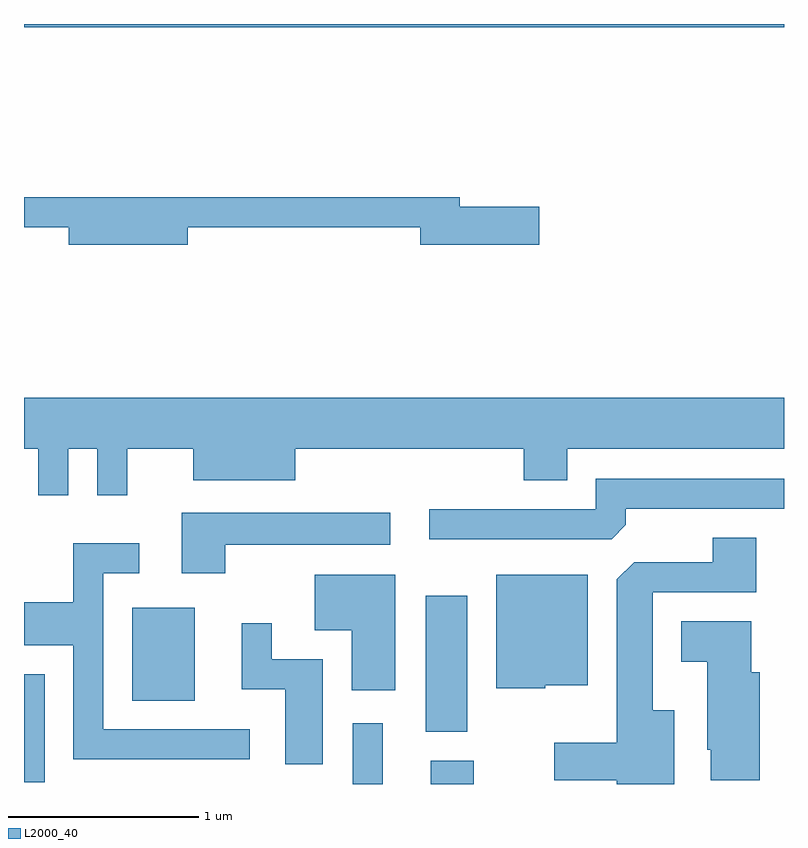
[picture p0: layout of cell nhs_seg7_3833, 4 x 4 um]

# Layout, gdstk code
import gdstk
lib = gdstk.Library(unit=1e-6, precision=1e-09)
def R(c, l, rs):  # rectangles x0, y0, x1, y1
    for r in rs: c.add(gdstk.rectangle(r[:2], r[2:], *l))
def P(c, l, *ps):  # polygons
    for p in ps: c.add(gdstk.Polygon(p, *l))
L2000_40 = (2000, 40)

nhs_seg7_3833 = lib.new_cell('nhs_seg7_3833')
R(nhs_seg7_3833, L2000_40, [(303.341,1790.252,303.499,1790.573), (303.751,1790.252,303.979,1790.374), (301.611,1790.261,301.719,1790.829), (303.726,1790.526,303.944,1791.244), (302.181,1790.691,302.509,1791.179), (301.611,1794.236,305.611,1794.252)])
P(nhs_seg7_3833, L2000_40, [(302.474,1793.181),(303.696,1793.181),(303.696,1793.091),(304.324,1793.091),(304.324,1793.289),(303.904,1793.289),(303.904,1793.339),(301.611,1793.339),(301.611,1793.181),(301.846,1793.181),(301.846,1793.091),(302.474,1793.091)],
  [(301.844,1792.016),(301.996,1792.016),(301.996,1791.773),(302.154,1791.773),(302.154,1792.016),(302.501,1792.016),(302.501,1791.851),(303.039,1791.851),(303.039,1792.016),(304.241,1792.016),(304.241,1791.851),(304.469,1791.851),(304.469,1792.016),(305.611,1792.016),(305.611,1792.284),(301.611,1792.284),(301.611,1792.016),(301.686,1792.016),(301.686,1791.773),(301.844,1791.773)],
  [(304.779,1791.617),(304.779,1791.701),(305.611,1791.701),(305.611,1791.859),(304.621,1791.859),(304.621,1791.699),(303.743,1791.699),(303.743,1791.541),(304.704,1791.541)],
  [(302.669,1791.511),(303.538,1791.511),(303.538,1791.679),(302.441,1791.679),(302.441,1791.361),(302.669,1791.361)],
  [(305.034,1790.639),(304.919,1790.639),(304.919,1791.261),(305.464,1791.261),(305.464,1791.549),(305.236,1791.549),(305.236,1791.419),(304.822,1791.419),(304.731,1791.329),(304.731,1790.469),(304.401,1790.469),(304.401,1790.271),(304.731,1790.271),(304.731,1790.252),(305.034,1790.252)],
  [(302.798,1790.539),(302.029,1790.539),(302.029,1791.361),(302.218,1791.361),(302.218,1791.519),(301.871,1791.519),(301.871,1791.209),(301.611,1791.209),(301.611,1790.981),(301.871,1790.981),(301.871,1790.381),(302.798,1790.381)],
  [(304.355,1790.771),(304.579,1790.771),(304.579,1791.354),(304.096,1791.354),(304.096,1790.756),(304.355,1790.756)],
  [(303.564,1791.354),(303.141,1791.354),(303.141,1791.061),(303.336,1791.061),(303.336,1790.746),(303.564,1790.746)],
  [(305.484,1790.839),(305.439,1790.839),(305.439,1791.109),(305.071,1791.109),(305.071,1790.896),(305.206,1790.896),(305.206,1790.431),(305.226,1790.431),(305.226,1790.271),(305.484,1790.271)],
  [(303.184,1790.909),(302.914,1790.909),(302.914,1791.098),(302.756,1791.098),(302.756,1790.751),(302.986,1790.751),(302.986,1790.356),(303.184,1790.356)])

lib.write_gds('nhs_seg7_3833.gds')
